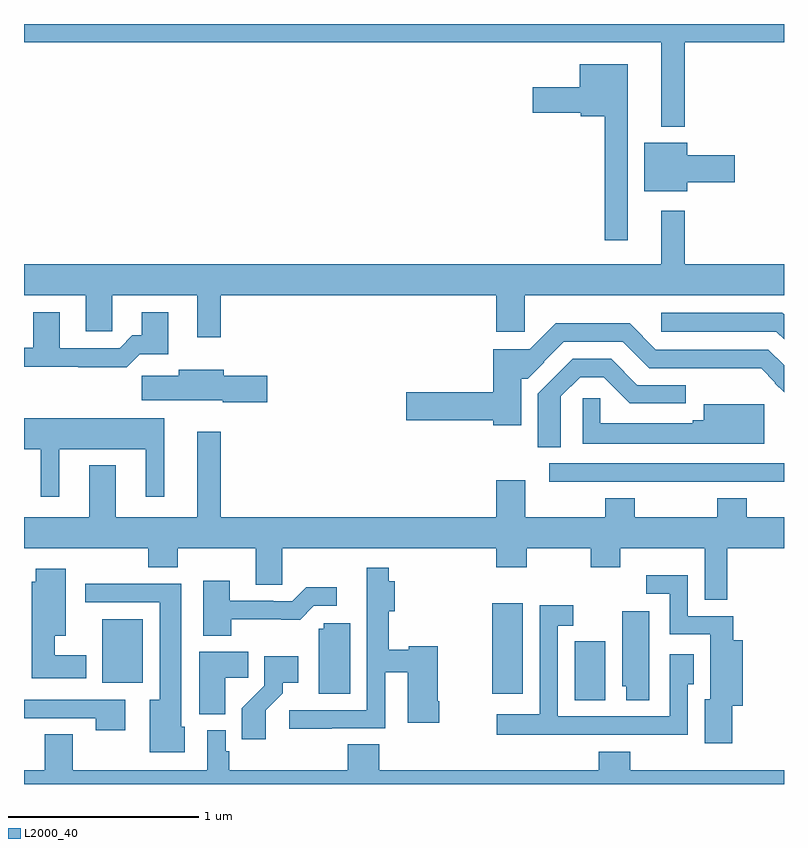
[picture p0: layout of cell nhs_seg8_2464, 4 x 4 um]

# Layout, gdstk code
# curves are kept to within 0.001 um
import gdstk
lib = gdstk.Library(unit=1e-6, precision=1e-09)
def R(c, l, rs):  # rectangles x0, y0, x1, y1
    for r in rs: c.add(gdstk.rectangle(r[:2], r[2:], *l))
def P(c, l, *ps):  # polygons
    for p in ps: c.add(gdstk.Polygon(p, *l))
L2000_40 = (2000, 40)

nhs_seg8_2464 = lib.new_cell('nhs_seg8_2464')
R(nhs_seg8_2464, L2000_40, [(267.899,1142.341,268.06,1142.652), (267.464,1142.376,267.625,1142.851), (265.412,1142.432,265.624,1142.767)])
P(nhs_seg8_2464, L2000_40, [(268.477,1145.804),(269,1145.804),(269,1145.9),(265,1145.9),(265,1145.804),(268.355,1145.804),(268.355,1145.36),(268.477,1145.36)],
  [(268.177,1145.689),(267.926,1145.689),(267.926,1145.566),(267.678,1145.566),(267.678,1145.432),(267.93,1145.432),(267.93,1145.414),(268.056,1145.414),(268.056,1144.761),(268.177,1144.761)],
  [(268.492,1145.068),(268.741,1145.068),(268.741,1145.21),(268.492,1145.21),(268.492,1145.275),(268.265,1145.275),(268.265,1145.021),(268.492,1145.021)],
  [(266.035,1144.472),(267.485,1144.472),(267.485,1144.281),(267.635,1144.281),(267.635,1144.472),(269,1144.472),(269,1144.636),(268.477,1144.636),(268.477,1144.918),(268.355,1144.918),(268.355,1144.636),(265,1144.636),(265,1144.472),(265.325,1144.472),(265.325,1144.282),(265.464,1144.282),(265.464,1144.472),(265.913,1144.472),(265.913,1144.251),(266.035,1144.251)],
  [(265.61,1144.163),(265.759,1144.163),(265.759,1144.384),(265.619,1144.384),(265.619,1144.261),(265.57,1144.261),(265.503,1144.194),(265.189,1144.194),(265.189,1144.384),(265.049,1144.384),(265.049,1144.197),(265,1144.197),(265,1144.096),(265.285,1144.096),(265.285,1144.094),(265.541,1144.094)],
  [(269,1144.373),(268.992,1144.381),(268.353,1144.381),(268.353,1144.281),(268.465,1144.281),(268.465,1144.28),(268.856,1144.28),(268.856,1144.281),(268.959,1144.281),(269,1144.24)],
  [(267.616,1144.032),(267.65,1144.032),(267.738,1144.119),(267.735,1144.122),(267.84,1144.227),(268.152,1144.227),(268.29,1144.089),(268.88,1144.088),(268.954,1144.013),(268.951,1144.01),(269,1143.961),(269,1144.103),(268.918,1144.185),(268.326,1144.185),(268.187,1144.324),(267.799,1144.324),(267.663,1144.188),(267.47,1144.188),(267.47,1143.962),(267.012,1143.962),(267.012,1143.815),(267.47,1143.815),(267.47,1143.788),(267.616,1143.788)],
  [(267.826,1143.94),(267.927,1144.041),(268.05,1144.041),(268.188,1143.903),(268.483,1143.903),(268.483,1143.999),(268.228,1143.999),(268.09,1144.137),(267.887,1144.137),(267.704,1143.953),(267.704,1143.673),(267.826,1143.673)],
  [(266.281,1144.05),(266.05,1144.05),(266.05,1144.081),(265.814,1144.081),(265.814,1144.049),(265.62,1144.049),(265.62,1143.92),(266.046,1143.92),(266.046,1143.908),(266.281,1143.908)],
  [(268.896,1143.898),(268.577,1143.898),(268.577,1143.814),(268.521,1143.814),(268.521,1143.799),(268.034,1143.799),(268.034,1143.931),(267.94,1143.931),(267.94,1143.692),(268.896,1143.692)],
  [(265.186,1143.662),(265.64,1143.662),(265.64,1143.411),(265.738,1143.411),(265.738,1143.826),(265,1143.826),(265,1143.662),(265.088,1143.662),(265.088,1143.411),(265.186,1143.411)],
  [(268.06,1143.304),(267.637,1143.304),(267.637,1143.499),(267.485,1143.499),(267.485,1143.304),(266.035,1143.304),(266.035,1143.754),(265.913,1143.754),(265.913,1143.304),(265.483,1143.304),(265.483,1143.577),(265.343,1143.577),(265.343,1143.304),(265,1143.304),(265,1143.14),(265.654,1143.14),(265.654,1143.041),(265.809,1143.041),(265.809,1143.14),(266.219,1143.14),(266.219,1142.95),(266.358,1142.95),(266.358,1143.14),(267.485,1143.14),(267.485,1143.041),(267.645,1143.041),(267.645,1143.14),(267.982,1143.14),(267.982,1143.041),(268.137,1143.041),(268.137,1143.14),(268.583,1143.14),(268.583,1142.869),(268.702,1142.869),(268.702,1143.14),(269,1143.14),(269,1143.304),(268.803,1143.304),(268.803,1143.403),(268.648,1143.403),(268.648,1143.304),(268.215,1143.304),(268.215,1143.403),(268.06,1143.403)],
  [(268.559,1143.492),(268.891,1143.492),(268.891,1143.491),(269,1143.491),(269,1143.588),(267.765,1143.588),(267.765,1143.492),(268.303,1143.492),(268.303,1143.491),(268.559,1143.491)],
  [(266.621,1142.193),(266.901,1142.193),(266.901,1142.488),(267.02,1142.488),(267.02,1142.223),(267.186,1142.223),(267.186,1142.335),(267.178,1142.335),(267.178,1142.624),(267.024,1142.624),(267.024,1142.606),(266.921,1142.606),(266.921,1142.81),(266.951,1142.81),(266.951,1142.968),(266.921,1142.968),(266.921,1143.037),(266.804,1143.037),(266.804,1142.814),(266.805,1142.814),(266.805,1142.289),(266.397,1142.289),(266.397,1142.191),(266.621,1142.191)],
  [(265.327,1142.578),(265.162,1142.578),(265.162,1142.681),(265.219,1142.681),(265.219,1143.034),(265.061,1143.034),(265.061,1142.964),(265.04,1142.964),(265.04,1142.456),(265.327,1142.456)],
  [(268.727,1142.312),(268.784,1142.312),(268.784,1142.656),(268.732,1142.656),(268.732,1142.784),(268.494,1142.784),(268.494,1142.998),(268.275,1142.998),(268.275,1142.901),(268.398,1142.901),(268.398,1142.688),(268.613,1142.688),(268.613,1142.347),(268.583,1142.347),(268.583,1142.115),(268.727,1142.115)],
  [(266.091,1142.766),(266.453,1142.765),(266.526,1142.838),(266.647,1142.838),(266.647,1142.935),(266.485,1142.935),(266.412,1142.862),(266.312,1142.862),(266.312,1142.865),(266.083,1142.865),(266.083,1142.971),(265.943,1142.971),(265.943,1142.681),(266.091,1142.681)],
  [(265.846,1142.202),(265.828,1142.202),(265.828,1142.954),(265.323,1142.954),(265.323,1142.856),(265.715,1142.856),(265.715,1142.344),(265.661,1142.344),(265.661,1142.066),(265.846,1142.066)],
  [(267.907,1142.16),(268.273,1142.16),(268.273,1142.159),(268.494,1142.159),(268.494,1142.425),(268.525,1142.425),(268.525,1142.584),(268.398,1142.584),(268.398,1142.256),(267.81,1142.256),(267.81,1142.733),(267.892,1142.733),(267.892,1142.842),(267.714,1142.842),(267.714,1142.266),(267.489,1142.266),(267.489,1142.159),(267.907,1142.159)],
  [(268.291,1142.809),(268.148,1142.809),(268.148,1142.415),(268.169,1142.415),(268.169,1142.341),(268.291,1142.341)],
  [(266.716,1142.745),(266.577,1142.745),(266.577,1142.718),(266.552,1142.718),(266.552,1142.374),(266.716,1142.374)],
  [(266.059,1142.458),(266.18,1142.458),(266.18,1142.596),(265.922,1142.596),(265.922,1142.267),(266.059,1142.267)],
  [(266.272,1142.287),(266.362,1142.377),(266.362,1142.432),(266.443,1142.432),(266.443,1142.572),(266.265,1142.572),(266.265,1142.417),(266.146,1142.298),(266.146,1142.136),(266.272,1142.136)],
  [(265.534,1142.343),(265,1142.343),(265,1142.247),(265.378,1142.247),(265.378,1142.184),(265.534,1142.184)],
  [(269,1141.972),(268.19,1141.972),(268.19,1142.071),(268.025,1142.071),(268.025,1141.972),(266.87,1141.972),(266.87,1142.108),(266.705,1142.108),(266.705,1141.972),(266.081,1141.972),(266.081,1142.073),(266.061,1142.073),(266.061,1142.182),(265.965,1142.182),(265.965,1141.972),(265.257,1141.972),(265.257,1142.162),(265.109,1142.162),(265.109,1141.972),(265,1141.972),(265,1141.9),(269,1141.9)])

lib.write_gds('nhs_seg8_2464.gds')
